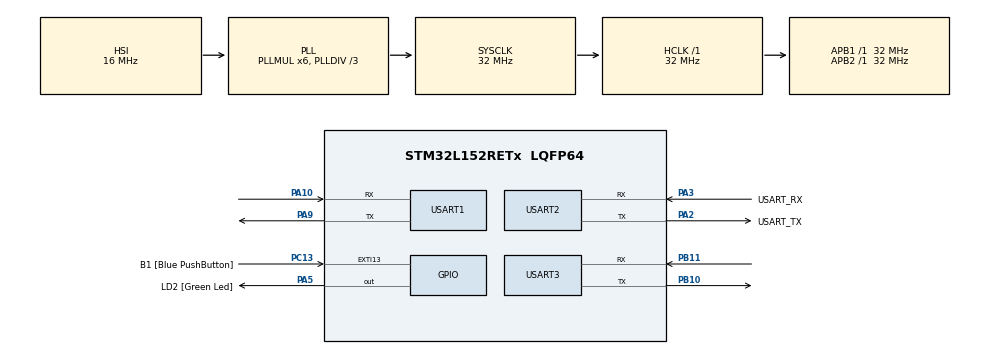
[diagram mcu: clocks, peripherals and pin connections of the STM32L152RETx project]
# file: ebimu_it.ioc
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Mcu.Family=STM32L1
Mcu.Name=STM32L152RETx
Mcu.Package=LQFP64
NVIC.PriorityGroup=NVIC_PRIORITYGROUP_0
NVIC.USART1_IRQn=true\:0\:0\:false\:false\:true\:true\:true\:true
NVIC.USART3_IRQn=true\:0\:0\:false\:false\:true\:true\:true\:true
PA10.Mode=Asynchronous
PA10.Signal=USART1_RX
PA13.GPIO_Label=TMS
PA13.Mode=Serial_Wire
PA13.Signal=SYS_JTMS-SWDIO
PA14.GPIO_Label=TCK
PA14.Mode=Serial_Wire
PA14.Signal=SYS_JTCK-SWCLK
PA2.GPIO_Label=USART_TX
PA2.Mode=Asynchronous
PA2.Signal=USART2_TX
PA3.GPIO_Label=USART_RX
PA3.Mode=Asynchronous
PA3.Signal=USART2_RX
PA5.GPIO_Label=LD2 [Green Led]
PA5.Signal=GPIO_Output
PA9.Mode=Asynchronous
PA9.Signal=USART1_TX
PB10.Mode=Asynchronous
PB10.Signal=USART3_TX
PB11.Mode=Asynchronous
PB11.Signal=USART3_RX
PB3.GPIO_Label=SWO
PB3.Signal=SYS_JTDO-TRACESWO
PC13-WKUP2.GPIO_Label=B1 [Blue PushButton]
PC13-WKUP2.Signal=GPXTI13
PC14-OSC32_IN.Mode=LSE-External-Oscillator
PC14-OSC32_IN.Signal=RCC_OSC32_IN
PC15-OSC32_OUT.Mode=LSE-External-Oscillator
PC15-OSC32_OUT.Signal=RCC_OSC32_OUT
PH0-OSC_IN.Mode=HSE-External-Clock-Source
PH0-OSC_IN.Signal=RCC_OSC_IN
PH1-OSC_OUT.Signal=RCC_OSC_OUT
ProjectManager.HeapSize=0x200
ProjectManager.StackSize=0x400
ProjectManager.TargetToolchain=STM32CubeIDE
RCC.48MHZClocksFreq_Value=48000000
RCC.AHBFreq_Value=32000000
RCC.APB1Freq_Value=32000000
RCC.APB1TimFreq_Value=32000000
RCC.APB2Freq_Value=32000000
RCC.APB2TimFreq_Value=32000000
RCC.HCLKFreq_Value=32000000
RCC.HSE_VALUE=8000000
RCC.HSI_VALUE=16000000
RCC.MSI_VALUE=2097000
RCC.PLLDIV=RCC_PLL_DIV3
RCC.PLLMUL=RCC_PLL_MUL6
RCC.RTCClockSelectionVirtual=RCC_RTCCLKSOURCE_LSE
RCC.SYSCLKFreq_VALUE=32000000
RCC.SYSCLKSource=RCC_SYSCLKSOURCE_PLLCLK
RCC.USBOutput=48000000
RCC.VCOOutputFreq_Value=96000000
USART1.VirtualMode=VM_ASYNC
USART2.VirtualMode=VM_ASYNC
USART3.VirtualMode=VM_ASYNC
board=NUCLEO-L152RE

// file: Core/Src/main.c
/* USER CODE BEGIN Header */
/**
  ******************************************************************************
  * @file           : main.c
  * @brief          : Main program body
  ******************************************************************************
  * @attention
  *
  * Copyright (c) 2025 STMicroelectronics.
  * All rights reserved.
  *
  * This software is licensed under terms that can be found in the LICENSE file
  * in the root directory of this software component.
  * If no LICENSE file comes with this software, it is provided AS-IS.
  *
  ******************************************************************************
  */
/* USER CODE END Header */
#include "main.h"
#include "usart.h"
#include "gpio.h"

/* USER CODE BEGIN Includes */
#include <stdio.h>
#include <string.h>
/* USER CODE END Includes */

/* USER CODE BEGIN PV */
uint8_t byteData1=0, byteData3=0;
uint8_t cnt1=0, cnt3=1;
uint16_t c=0;
char Data[100]={0};
char command[10]={0};

void HAL_UART_RxCpltCallback(UART_HandleTypeDef *huart) {
	if(huart == &huart1){
		if(byteData1=='*') cnt1=0;
		Data[cnt1++]=(char)byteData1;
		if(byteData1=='\n'){
			if(c>=30){
				HAL_UART_Transmit(&huart3, (uint8_t*)Data, strlen(Data), HAL_MAX_DELAY);
				c=0;
			}
			memset(Data, 0, sizeof(Data));
			c++;
		}
		HAL_UART_Receive_IT(&huart1, &byteData1, 1);
	}
	else if(huart == &huart3){
		if(byteData3=='<') cnt3=0;
		command[cnt3++]=byteData3;
		if(byteData3=='>'){
			HAL_UART_Transmit(&huart1, (uint8_t *)command, strlen(command), HAL_MAX_DELAY);
			memset(command, 0, sizeof(command));
		}
		HAL_UART_Receive_IT(&huart3, &byteData3, 1);
	}
}
/* USER CODE END PV */

void SystemClock_Config(void);

int main(void)
{

  /* MCU Configuration--------------------------------------------------------*/

  /* Reset of all peripherals, Initializes the Flash interface and the Systick. */
  HAL_Init();

  /* Configure the system clock */
  SystemClock_Config();

  /* Initialize all configured peripherals */
  MX_GPIO_Init();
  MX_USART2_UART_Init();
  MX_USART1_UART_Init();
  MX_USART3_UART_Init();
  /* USER CODE BEGIN 2 */
  HAL_UART_Receive_IT(&huart1, &byteData1, 1);
  HAL_UART_Receive_IT(&huart3, &byteData3, 1);
  /* USER CODE END 2 */

  /* Infinite loop */
  while (1)
  {

  }
}

void SystemClock_Config(void)
{
  RCC_OscInitTypeDef RCC_OscInitStruct = {0};
  RCC_ClkInitTypeDef RCC_ClkInitStruct = {0};

  /** Configure the main internal regulator output voltage
  */
  __HAL_PWR_VOLTAGESCALING_CONFIG(PWR_REGULATOR_VOLTAGE_SCALE1);

  /** Initializes the RCC Oscillators according to the specified parameters
  * in the RCC_OscInitTypeDef structure.
  */
  RCC_OscInitStruct.OscillatorType = RCC_OSCILLATORTYPE_HSI;
  RCC_OscInitStruct.HSIState = RCC_HSI_ON;
  RCC_OscInitStruct.HSICalibrationValue = RCC_HSICALIBRATION_DEFAULT;
  RCC_OscInitStruct.PLL.PLLState = RCC_PLL_ON;
  RCC_OscInitStruct.PLL.PLLSource = RCC_PLLSOURCE_HSI;
  RCC_OscInitStruct.PLL.PLLMUL = RCC_PLL_MUL6;
  RCC_OscInitStruct.PLL.PLLDIV = RCC_PLL_DIV3;
  if (HAL_RCC_OscConfig(&RCC_OscInitStruct) != HAL_OK)
  {
    Error_Handler();
  }

  /** Initializes the CPU, AHB and APB buses clocks
  */
  RCC_ClkInitStruct.ClockType = RCC_CLOCKTYPE_HCLK|RCC_CLOCKTYPE_SYSCLK
                              |RCC_CLOCKTYPE_PCLK1|RCC_CLOCKTYPE_PCLK2;
  RCC_ClkInitStruct.SYSCLKSource = RCC_SYSCLKSOURCE_PLLCLK;
  RCC_ClkInitStruct.AHBCLKDivider = RCC_SYSCLK_DIV1;
  RCC_ClkInitStruct.APB1CLKDivider = RCC_HCLK_DIV1;
  RCC_ClkInitStruct.APB2CLKDivider = RCC_HCLK_DIV1;

  if (HAL_RCC_ClockConfig(&RCC_ClkInitStruct, FLASH_LATENCY_1) != HAL_OK)
  {
    Error_Handler();
  }
}

void Error_Handler(void)
{
  __disable_irq();
  while (1)
  {
  }
}
